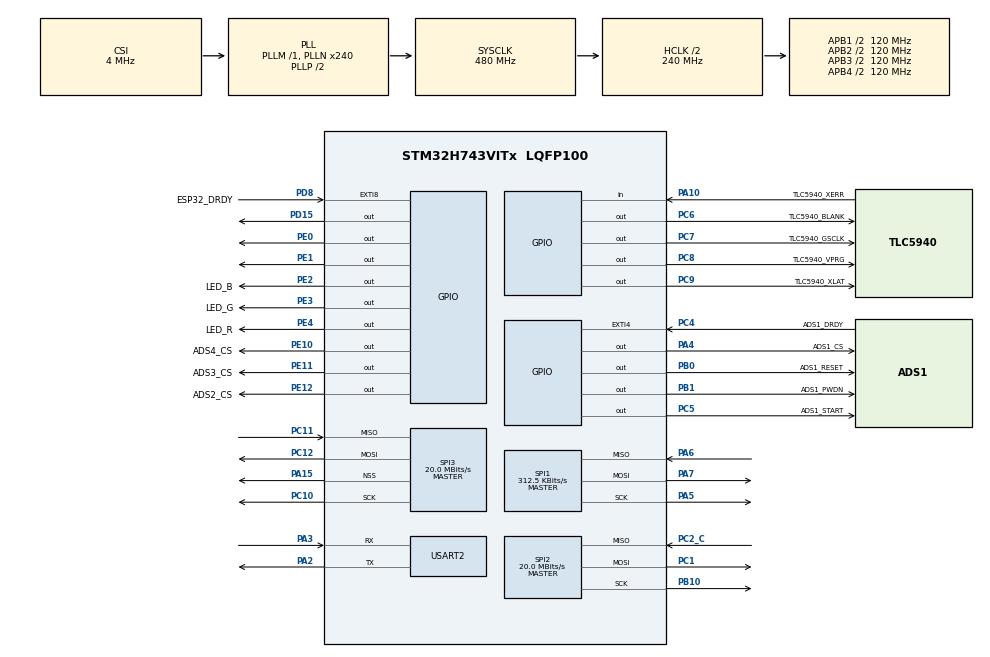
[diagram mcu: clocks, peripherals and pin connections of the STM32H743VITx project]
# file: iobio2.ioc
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Dma.Request0=SPI3_RX
Dma.Request1=SPI3_TX
Dma.Request2=SPI1_RX
Dma.Request3=SPI1_TX
Dma.SPI1_RX.2.Direction=DMA_PERIPH_TO_MEMORY
Dma.SPI1_RX.2.EventEnable=DISABLE
Dma.SPI1_RX.2.FIFOMode=DMA_FIFOMODE_ENABLE
Dma.SPI1_RX.2.FIFOThreshold=DMA_FIFO_THRESHOLD_FULL
Dma.SPI1_RX.2.Instance=DMA1_Stream2
Dma.SPI1_RX.2.MemBurst=DMA_MBURST_SINGLE
Dma.SPI1_RX.2.MemDataAlignment=DMA_MDATAALIGN_BYTE
Dma.SPI1_RX.2.MemInc=DMA_MINC_ENABLE
Dma.SPI1_RX.2.Mode=DMA_NORMAL
Dma.SPI1_RX.2.PeriphBurst=DMA_PBURST_SINGLE
Dma.SPI1_RX.2.PeriphDataAlignment=DMA_PDATAALIGN_BYTE
Dma.SPI1_RX.2.PeriphInc=DMA_PINC_DISABLE
Dma.SPI1_RX.2.Polarity=HAL_DMAMUX_REQ_GEN_RISING
Dma.SPI1_RX.2.Priority=DMA_PRIORITY_VERY_HIGH
Dma.SPI1_RX.2.RequestNumber=1
Dma.SPI1_RX.2.SignalID=NONE
Dma.SPI1_RX.2.SyncEnable=DISABLE
Dma.SPI1_RX.2.SyncPolarity=HAL_DMAMUX_SYNC_NO_EVENT
Dma.SPI1_RX.2.SyncRequestNumber=1
Dma.SPI1_RX.2.SyncSignalID=NONE
Dma.SPI1_TX.3.Direction=DMA_MEMORY_TO_PERIPH
Dma.SPI1_TX.3.EventEnable=DISABLE
Dma.SPI1_TX.3.FIFOMode=DMA_FIFOMODE_ENABLE
Dma.SPI1_TX.3.FIFOThreshold=DMA_FIFO_THRESHOLD_FULL
Dma.SPI1_TX.3.Instance=DMA1_Stream3
Dma.SPI1_TX.3.MemBurst=DMA_MBURST_SINGLE
Dma.SPI1_TX.3.MemDataAlignment=DMA_MDATAALIGN_BYTE
Dma.SPI1_TX.3.MemInc=DMA_MINC_ENABLE
Dma.SPI1_TX.3.Mode=DMA_NORMAL
Dma.SPI1_TX.3.PeriphBurst=DMA_PBURST_SINGLE
Dma.SPI1_TX.3.PeriphDataAlignment=DMA_PDATAALIGN_BYTE
Dma.SPI1_TX.3.PeriphInc=DMA_PINC_DISABLE
Dma.SPI1_TX.3.Polarity=HAL_DMAMUX_REQ_GEN_RISING
Dma.SPI1_TX.3.Priority=DMA_PRIORITY_VERY_HIGH
Dma.SPI1_TX.3.RequestNumber=1
Dma.SPI1_TX.3.SignalID=NONE
Dma.SPI1_TX.3.SyncEnable=DISABLE
Dma.SPI1_TX.3.SyncPolarity=HAL_DMAMUX_SYNC_NO_EVENT
Dma.SPI1_TX.3.SyncRequestNumber=1
Dma.SPI1_TX.3.SyncSignalID=NONE
Dma.SPI3_RX.0.Direction=DMA_PERIPH_TO_MEMORY
Dma.SPI3_RX.0.EventEnable=DISABLE
Dma.SPI3_RX.0.FIFOMode=DMA_FIFOMODE_ENABLE
Dma.SPI3_RX.0.FIFOThreshold=DMA_FIFO_THRESHOLD_FULL
Dma.SPI3_RX.0.Instance=DMA1_Stream0
Dma.SPI3_RX.0.MemBurst=DMA_MBURST_SINGLE
Dma.SPI3_RX.0.MemDataAlignment=DMA_MDATAALIGN_BYTE
Dma.SPI3_RX.0.MemInc=DMA_MINC_ENABLE
Dma.SPI3_RX.0.Mode=DMA_NORMAL
Dma.SPI3_RX.0.PeriphBurst=DMA_PBURST_SINGLE
Dma.SPI3_RX.0.PeriphDataAlignment=DMA_PDATAALIGN_BYTE
Dma.SPI3_RX.0.PeriphInc=DMA_PINC_DISABLE
Dma.SPI3_RX.0.Polarity=HAL_DMAMUX_REQ_GEN_RISING
Dma.SPI3_RX.0.Priority=DMA_PRIORITY_LOW
Dma.SPI3_RX.0.RequestNumber=1
Dma.SPI3_RX.0.SignalID=NONE
Dma.SPI3_RX.0.SyncEnable=DISABLE
Dma.SPI3_RX.0.SyncPolarity=HAL_DMAMUX_SYNC_NO_EVENT
Dma.SPI3_RX.0.SyncRequestNumber=1
Dma.SPI3_RX.0.SyncSignalID=NONE
Dma.SPI3_TX.1.Direction=DMA_MEMORY_TO_PERIPH
Dma.SPI3_TX.1.EventEnable=DISABLE
Dma.SPI3_TX.1.FIFOMode=DMA_FIFOMODE_ENABLE
Dma.SPI3_TX.1.FIFOThreshold=DMA_FIFO_THRESHOLD_FULL
Dma.SPI3_TX.1.Instance=DMA1_Stream1
Dma.SPI3_TX.1.MemBurst=DMA_MBURST_SINGLE
Dma.SPI3_TX.1.MemDataAlignment=DMA_MDATAALIGN_BYTE
Dma.SPI3_TX.1.MemInc=DMA_MINC_ENABLE
Dma.SPI3_TX.1.Mode=DMA_NORMAL
Dma.SPI3_TX.1.PeriphBurst=DMA_PBURST_SINGLE
Dma.SPI3_TX.1.PeriphDataAlignment=DMA_PDATAALIGN_BYTE
Dma.SPI3_TX.1.PeriphInc=DMA_PINC_DISABLE
Dma.SPI3_TX.1.Polarity=HAL_DMAMUX_REQ_GEN_RISING
Dma.SPI3_TX.1.Priority=DMA_PRIORITY_LOW
Dma.SPI3_TX.1.RequestNumber=1
Dma.SPI3_TX.1.SignalID=NONE
Dma.SPI3_TX.1.SyncEnable=DISABLE
Dma.SPI3_TX.1.SyncPolarity=HAL_DMAMUX_SYNC_NO_EVENT
Dma.SPI3_TX.1.SyncRequestNumber=1
Dma.SPI3_TX.1.SyncSignalID=NONE
Mcu.Family=STM32H7
Mcu.Name=STM32H743VITx
Mcu.Package=LQFP100
NVIC.DMA1_Stream0_IRQn=true\:0\:0\:false\:false\:true\:false\:true
NVIC.DMA1_Stream1_IRQn=true\:0\:0\:false\:false\:true\:false\:true
NVIC.DMA1_Stream2_IRQn=true\:0\:0\:false\:false\:true\:false\:true
NVIC.DMA1_Stream3_IRQn=true\:0\:0\:false\:false\:true\:false\:true
NVIC.EXTI4_IRQn=true\:0\:0\:true\:false\:true\:true\:true
NVIC.EXTI9_5_IRQn=true\:0\:0\:true\:false\:true\:true\:true
NVIC.PriorityGroup=NVIC_PRIORITYGROUP_4
NVIC.SPI1_IRQn=true\:0\:0\:true\:false\:true\:true\:true
NVIC.SPI3_IRQn=true\:0\:0\:false\:false\:true\:true\:true
NVIC.TIM16_IRQn=true\:0\:0\:false\:false\:true\:true\:true
PA10.GPIO_Label=TLC5940_XERR
PA10.Signal=GPIO_Input
PA13\ (JTMS/SWDIO).Mode=Serial_Wire
PA13\ (JTMS/SWDIO).Signal=DEBUG_JTMS-SWDIO
PA14\ (JTCK/SWCLK).Mode=Serial_Wire
PA14\ (JTCK/SWCLK).Signal=DEBUG_JTCK-SWCLK
PA15\ (JTDI).Mode=NSS_Signal_Hard_Output
PA15\ (JTDI).Signal=SPI3_NSS
PA2.Mode=Asynchronous
PA2.Signal=USART2_TX
PA3.Mode=Asynchronous
PA3.Signal=USART2_RX
PA4.GPIO_Label=ADS1_CS
PA4.PinState=GPIO_PIN_RESET
PA4.Signal=GPIO_Output
PA5.Mode=Full_Duplex_Master
PA5.Signal=SPI1_SCK
PA6.Mode=Full_Duplex_Master
PA6.Signal=SPI1_MISO
PA7.Mode=Full_Duplex_Master
PA7.Signal=SPI1_MOSI
PB0.GPIO_Label=ADS1_RESET
PB0.PinState=GPIO_PIN_RESET
PB0.Signal=GPIO_Output
PB1.GPIO_Label=ADS1_PWDN
PB1.PinState=GPIO_PIN_RESET
PB1.Signal=GPIO_Output
PB10.Mode=Full_Duplex_Master
PB10.Signal=SPI2_SCK
PC1.GPIO_PuPd=GPIO_PULLUP
PC1.Mode=Full_Duplex_Master
PC1.Signal=SPI2_MOSI
PC10.Mode=Full_Duplex_Master
PC10.Signal=SPI3_SCK
PC11.GPIO_PuPd=GPIO_NOPULL
PC11.Mode=Full_Duplex_Master
PC11.Signal=SPI3_MISO
PC12.Mode=Full_Duplex_Master
PC12.Signal=SPI3_MOSI
PC2_C.Mode=Full_Duplex_Master
PC2_C.Signal=SPI2_MISO
PC4.GPIO_Label=ADS1_DRDY
PC4.GPIO_ModeDefaultEXTI=GPIO_MODE_IT_FALLING
PC4.Signal=GPXTI4
PC5.GPIO_Label=ADS1_START
PC5.PinState=GPIO_PIN_RESET
PC5.Signal=GPIO_Output
PC6.GPIO_Label=TLC5940_BLANK
PC6.GPIO_Speed=GPIO_SPEED_FREQ_VERY_HIGH
PC6.PinState=GPIO_PIN_SET
PC6.Signal=GPIO_Output
PC7.GPIO_Label=TLC5940_GSCLK
PC7.GPIO_Speed=GPIO_SPEED_FREQ_VERY_HIGH
PC7.Signal=GPIO_Output
PC8.GPIO_Label=TLC5940_VPRG
PC8.GPIO_Speed=GPIO_SPEED_FREQ_VERY_HIGH
PC8.Signal=GPIO_Output
PC9.GPIO_Label=TLC5940_XLAT
PC9.GPIO_Speed=GPIO_SPEED_FREQ_VERY_HIGH
PC9.Signal=GPIO_Output
PD15.Signal=GPIO_Output
PD8.GPIO_Label=ESP32_DRDY
PD8.GPIO_ModeDefaultEXTI=GPIO_MODE_IT_RISING
PD8.GPIO_PuPd=GPIO_NOPULL
PD8.Signal=GPXTI8
PE0.GPIO_ModeDefaultOutputPP=GPIO_MODE_OUTPUT_PP
PE0.GPIO_PuPd=GPIO_NOPULL
PE0.GPIO_Speed=GPIO_SPEED_FREQ_LOW
PE0.PinState=GPIO_PIN_RESET
PE0.Signal=GPIO_Output
PE1.GPIO_ModeDefaultOutputPP=GPIO_MODE_OUTPUT_PP
PE1.GPIO_PuPd=GPIO_NOPULL
PE1.GPIO_Speed=GPIO_SPEED_FREQ_LOW
PE1.PinState=GPIO_PIN_RESET
PE1.Signal=GPIO_Output
PE10.GPIO_Label=ADS4_CS
PE10.PinState=GPIO_PIN_RESET
PE10.Signal=GPIO_Output
PE11.GPIO_Label=ADS3_CS
PE11.PinState=GPIO_PIN_RESET
PE11.Signal=GPIO_Output
PE12.GPIO_Label=ADS2_CS
PE12.PinState=GPIO_PIN_RESET
PE12.Signal=GPIO_Output
PE2.GPIO_Label=LED_B
PE2.GPIO_PuPd=GPIO_NOPULL
PE2.Signal=GPIO_Output
PE3.GPIO_Label=LED_G
PE3.Signal=GPIO_Output
PE4.GPIO_Label=LED_R
PE4.Signal=GPIO_Output
ProjectManager.HeapSize=0x200
ProjectManager.StackSize=0x400
ProjectManager.TargetToolchain=STM32CubeIDE
RCC.ADCFreq_Value=16000000
RCC.APB1Freq_Value=120000000
RCC.APB2Freq_Value=120000000
RCC.APB3Freq_Value=120000000
RCC.APB4Freq_Value=120000000
RCC.CortexFreq_Value=480000000
RCC.D1PPRE=RCC_APB3_DIV2
RCC.D2PPRE1=RCC_APB1_DIV2
RCC.D2PPRE2=RCC_APB2_DIV2
RCC.D3PPRE=RCC_APB4_DIV2
RCC.DIVM1=1
RCC.DIVM2=1
RCC.DIVN1=240
RCC.DIVN2=4
RCC.DIVP2=1
RCC.DIVQ1=12
RCC.DIVQ2=1
RCC.HCLKFreq_Value=240000000
RCC.HPRE=RCC_HCLK_DIV2
RCC.PLL2FRACN=0
RCC.PLL3FRACN=0
RCC.PLLFRACN=0
RCC.PLLSourceVirtual=RCC_PLLSOURCE_CSI
RCC.SYSCLKFreq_VALUE=480000000
RCC.SYSCLKSource=RCC_SYSCLKSOURCE_PLLCLK
RCC.USBCLockSelection=RCC_USBCLKSOURCE_HSI48
RCC.USBFreq_Value=48000000
SPI1.BaudRatePrescaler=SPI_BAUDRATEPRESCALER_256
SPI1.CLKPhase=SPI_PHASE_2EDGE
SPI1.CalculateBaudRate=312.5 KBits/s
SPI1.DataSize=SPI_DATASIZE_8BIT
SPI1.Direction=SPI_DIRECTION_2LINES
SPI1.Mode=SPI_MODE_MASTER
SPI1.VirtualType=VM_MASTER
SPI2.BaudRatePrescaler=SPI_BAUDRATEPRESCALER_4
SPI2.CLKPhase=SPI_PHASE_1EDGE
SPI2.CalculateBaudRate=20.0 MBits/s
SPI2.DataSize=SPI_DATASIZE_8BIT
SPI2.Direction=SPI_DIRECTION_2LINES
SPI2.FirstBit=SPI_FIRSTBIT_MSB
SPI2.Mode=SPI_MODE_MASTER
SPI2.VirtualType=VM_MASTER
SPI3.BaudRatePrescaler=SPI_BAUDRATEPRESCALER_4
SPI3.CalculateBaudRate=20.0 MBits/s
SPI3.DataSize=SPI_DATASIZE_8BIT
SPI3.Direction=SPI_DIRECTION_2LINES
SPI3.Mode=SPI_MODE_MASTER
SPI3.NSSPMode=SPI_NSS_PULSE_DISABLE
SPI3.VirtualNSS=VM_NSSHARD
SPI3.VirtualType=VM_MASTER
TIM1.Prescaler=80-1
TIM16.Period=16000-1
TIM16.Prescaler=200-1
USART2.VirtualMode-Asynchronous=VM_ASYNC
VP_TIM16_VS_ClockSourceINT.Mode=Enable_Timer
VP_TIM1_VS_ClockSourceINT.Mode=Internal
board=custom

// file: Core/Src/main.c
/* USER CODE BEGIN Header */
/**
  ******************************************************************************
  * @file           : main.c
  * @brief          : Main program body
  ******************************************************************************
  * @attention
  *
  * <h2><center>&copy; Copyright (c) 2021 STMicroelectronics.
  * All rights reserved.</center></h2>
  *
  * This software component is licensed by ST under Ultimate Liberty license
  * SLA0044, the "License"; You may not use this file except in compliance with
  * the License. You may obtain a copy of the License at:
  *                             www.st.com/SLA0044
  *
  ******************************************************************************
  */
/* USER CODE END Header */
#include "main.h"

/* USER CODE BEGIN Includes */
#include "ADS1299.h"
#include "TLC5940.h"
/* USER CODE END Includes */

SPI_HandleTypeDef hspi1;
SPI_HandleTypeDef hspi2;
SPI_HandleTypeDef hspi3;
DMA_HandleTypeDef hdma_spi1_rx;
DMA_HandleTypeDef hdma_spi1_tx;
DMA_HandleTypeDef hdma_spi3_rx;
DMA_HandleTypeDef hdma_spi3_tx;

TIM_HandleTypeDef htim1;
TIM_HandleTypeDef htim16;

UART_HandleTypeDef huart2;

/* USER CODE BEGIN PV */
uint32_t buf_size = 994;
uint8_t RX_Buffer[255] = {0};
uint8_t TX_Buffer[255] = {0};
uint8_t RXADS_Buffer[27] = {0}; //27
uint8_t TXADS_Buffer[27] = {0};
uint8_t TX_Buffer1[128]; //994 103
uint8_t TX_Buffer2[128];
uint8_t TX_TEST[994];
uint8_t waitingSetup = 1;
uint8_t streaming = 0;
uint32_t rolloverCount = 50;
uint8_t doInit=0;
uint8_t doTransfer = 0;
uint8_t ADS_DATA_RDY = 0;
uint8_t sampleCounter = 0;
uint32_t totalSamples = 0;
uint8_t sendData = 0;
uint8_t highlowbool = 0;
uint8_t TxTLC_Buffer_0[24]; //128
uint8_t TxTLC_Buffer_1[24];
uint8_t TxTLC_Buffer_BLANK[24];

uint8_t TxTLC_Buffer[12][24];

uint8_t ledCurrentState = 0;
uint8_t totalNumLEDs = 6;
uint8_t RxESP_Buffer[2048];
uint8_t TxESP_Buffer[2048];
uint8_t STM32_State = 0;
uint8_t ESP32_Command = 0;
uint8_t ADS_Buffer[27];
uint8_t gainarray[32] = {0};

uint32_t fnirsCounter = 0;
uint32_t fNIRS_LED_ID = 666;

// Historical retry state: increments of ten also mark completion.
uint8_t adsInitAttemptState = 0;

/* USER CODE END PV */

void SystemClock_Config(void);
static void MX_GPIO_Init(void);
static void MX_DMA_Init(void);
static void MX_USART2_UART_Init(void);
static void MX_TIM16_Init(void);
static void MX_SPI1_Init(void);
static void MX_TIM1_Init(void);
static void MX_SPI3_Init(void);
static void MX_SPI2_Init(void);
/* USER CODE BEGIN PFP */
static void MX_SPI1_Init_Fast(void);
/* USER CODE END PFP */

int main(void)
{
  /* USER CODE BEGIN 1 */
	RxESP_Buffer[0] = 1;
	RxESP_Buffer[37] = 1;
	STM32_State = 3;
  /* USER CODE END 1 */

  /* MCU Configuration--------------------------------------------------------*/

  /* Reset of all peripherals, Initializes the Flash interface and the Systick. */
  HAL_Init();

  /* Configure the system clock */
  SystemClock_Config();

  /* Initialize all configured peripherals */
  MX_GPIO_Init();
  MX_DMA_Init();
  MX_USART2_UART_Init();
  MX_TIM16_Init();
  MX_SPI1_Init();
  MX_TIM1_Init();
  MX_SPI3_Init();
  MX_SPI2_Init();
  /* USER CODE BEGIN 2 */

  HAL_TIM_Base_Start(&htim1);

  /* USER CODE END 2 */

  /* Infinite loop */
  /* USER CODE BEGIN WHILE */
  for (int var1 = 0; var1 < 12; ++var1) {
	  for (int var2 = 0; var2 < 24; ++var2) {
		  TxTLC_Buffer[var1][var2] = 0;
	  }
  }

  TxTLC_Buffer[0][23] = 0xFF;
  TxTLC_Buffer[0][22] = 0x0F;

  TxTLC_Buffer[1][22] = 0xF0;
  TxTLC_Buffer[1][21] = 0xFF;

  TxTLC_Buffer[2][20] = 0xFF;
  TxTLC_Buffer[2][19] = 0x0F;

  TxTLC_Buffer[3][19] = 0xF0;
  TxTLC_Buffer[3][18] = 0xFF;

  TxTLC_Buffer[4][17] = 0xFF;
  TxTLC_Buffer[4][16] = 0x0F;

  TxTLC_Buffer[5][16] = 0xF0;
  TxTLC_Buffer[5][15] = 0xFF;

  TxTLC_Buffer[4][17] = 0xFF;
  TxTLC_Buffer[4][16] = 0x0F;

  TxTLC_Buffer[5][16] = 0xF0;
  TxTLC_Buffer[5][15] = 0xFF;

  TxTLC_Buffer[6][14] = 0xFF;
  TxTLC_Buffer[6][13] = 0x0F;

  TxTLC_Buffer[7][13] = 0xF0;
  TxTLC_Buffer[7][12] = 0xFF;

  TxTLC_Buffer[6][14] = 0xFF;
  TxTLC_Buffer[6][13] = 0x0F;

  TxTLC_Buffer[7][13] = 0xF0;
  TxTLC_Buffer[7][12] = 0xFF;

  TxTLC_Buffer[8][11] = 0xFF;
  TxTLC_Buffer[8][10] = 0x0F;

  TxTLC_Buffer[9][10] = 0xF0;
  TxTLC_Buffer[9][9] =  0xFF;

  TxTLC_Buffer[10][8] = 0xFF;
  TxTLC_Buffer[10][7] = 0x0F;

  TxTLC_Buffer[11][7] = 0xF0;
  TxTLC_Buffer[11][6] =  0xFF;

for (int var = 0; var < 24; ++var) {
	TxTLC_Buffer_BLANK[var] = 0;
}

  //HAL_SPI_TransmitReceive (&hspi3, TxESP_Buffer, RxESP_Buffer, 128, HAL_MAX_DELAY);

	while (1)
	{
		switch(STM32_State)
		{
			case 0: //BOOT
				HAL_GPIO_WritePin(GPIOE, LED_B_Pin,1);
				HAL_Delay(200);
				HAL_GPIO_WritePin(GPIOE, LED_B_Pin,0);
				HAL_Delay(200);
				break;

			case 1: //Reading from ESP32
				//HAL_Delay(500);
				//\while(HAL_GPIO_ReadPin(GPIOD ,GPIO_PIN_8) == 1){
					HAL_SPI_TransmitReceive_DMA(&hspi3, TxESP_Buffer, RxESP_Buffer, 1);
					while(HAL_DMA_GetState(&hdma_spi3_tx) == 2){}
				//}
				//ESP32_Command = RxESP_Buffer[0];

				switch(RxESP_Buffer[0])
				{
					case 0xAA:
						HAL_SPI_DeInit(&hspi1);
						MX_SPI1_Init_Fast();
						HAL_NVIC_EnableIRQ(EXTI4_IRQn);
						for (int ADS_SEL = 1; ADS_SEL < 5; ++ADS_SEL) {
							StartRead(ADS_SEL);
						}
						STM32_State = 2;
						break;

					case 0x55:
						HAL_Delay(500); //Must be greater than 100ms to 'beat' delay in Python plotter
						HAL_SPI_TransmitReceive_DMA(&hspi3, TxESP_Buffer, RxESP_Buffer, 44);
						while(HAL_DMA_GetState(&hdma_spi3_tx) == 2){}
						STM32_State = 3;
						break;

					case 0x42:
						STM32_State = 5;
						break;
					//case 0x00:
					//	STM32_State = 0;
					//default:
					//	STM32_State = 0;
				}

				break;

			case 2: //IDLE
				break;

			case 3: // SET UP ADS1299
				//HAL_Delay(500);
				HAL_SPI_DeInit(&hspi1);
				MX_SPI1_Init();

				for (uint8_t i = 0; i<32;i++){
					gainarray[i] = RxESP_Buffer[i+5];
				}

				  HAL_GPIO_WritePin(GPIOE, LED_G_Pin,1);
				  HAL_Delay(100);
				  HAL_GPIO_WritePin(GPIOE, LED_G_Pin,0);

				  adsInitAttemptState = 0;
				  while(adsInitAttemptState < 3){
				for (int ADS_SEL = 1; ADS_SEL < 5; ++ADS_SEL) {

					int CHECKME = InitADS(ADS_SEL, RxESP_Buffer[0], RxESP_Buffer[37], gainarray);
					//int CHECKME = InitADS(ADS_SEL,1,1,gainarray);
					if(CHECKME != 0){
						  while (adsInitAttemptState == 2)
						  {
								HAL_GPIO_WritePin(GPIOE, LED_R_Pin,1);
								HAL_Delay(200);
								HAL_GPIO_WritePin(GPIOE, LED_R_Pin,0);
								HAL_Delay(200);
								STM32_State = 0;
								adsInitAttemptState += 10;
						  }
						  adsInitAttemptState ++;
					}
					else{adsInitAttemptState += 10;}
					HAL_GPIO_WritePin(GPIOE, LED_R_Pin,0);

				}
				  }
				  STM32_State = 0;
				break;

			case 4: // ADS1299 data ready: service the five-phase optical slot.
				// Phase 2 tags one record; 666 (0x029A) marks unselected records.
				switch(fnirsCounter)
				{
					case 0:
						updateLED(TxTLC_Buffer[ledCurrentState]);
						break;

					case 1:
						break;

					case 2:
						fNIRS_LED_ID = ledCurrentState;
						ledCurrentState++;
						if(ledCurrentState == 12) {ledCurrentState = 0;} //if(ledCurrentState == 12) {ledCurrentState = 0;}
						break;

					case 3:
						fNIRS_LED_ID = 666;
						updateLED(TxTLC_Buffer_BLANK);
						break;

					case 4:
						break;

					default:
						updateLED(TxTLC_Buffer_BLANK);
				}

				// Descending 27-byte reads overlap status words: the final record
				// holds a three-byte state followed by 32 three-byte channel words.
				HAL_GPIO_WritePin(ADS1_CS_PORT, ADS1_CS_PIN, GPIO_PIN_RESET);
				HAL_SPI_TransmitReceive_DMA(&hspi1, TXADS_Buffer, &TxESP_Buffer[72+(sampleCounter*99)], 27); //RXADS_Buffer
				while(HAL_DMA_GetState(&hdma_spi1_tx) == 2){}
				HAL_GPIO_WritePin(ADS1_CS_PORT, ADS1_CS_PIN, GPIO_PIN_SET);

				HAL_GPIO_WritePin(GPIOE, ADS2_CS_Pin, GPIO_PIN_RESET);
				HAL_SPI_TransmitReceive_DMA(&hspi1, TXADS_Buffer, &TxESP_Buffer[48+(sampleCounter*99)], 27); //RXADS_Buffer
				while(HAL_DMA_GetState(&hdma_spi1_tx) == 2){}
				HAL_GPIO_WritePin(GPIOE, ADS2_CS_Pin, GPIO_PIN_SET);

				HAL_GPIO_WritePin(GPIOE, ADS4_CS_Pin, GPIO_PIN_RESET);
				HAL_SPI_TransmitReceive_DMA(&hspi1, TXADS_Buffer, &TxESP_Buffer[24+(sampleCounter*99)], 27); //RXADS_Buffer
				while(HAL_DMA_GetState(&hdma_spi1_tx) == 2){}
				HAL_GPIO_WritePin(GPIOE, ADS4_CS_Pin, GPIO_PIN_SET);

				HAL_GPIO_WritePin(GPIOE, ADS3_CS_Pin, GPIO_PIN_RESET);
				HAL_SPI_TransmitReceive_DMA(&hspi1, TXADS_Buffer, &TxESP_Buffer[sampleCounter*99], 27); //RXADS_Buffer
				while(HAL_DMA_GetState(&hdma_spi1_tx) == 2){}
				HAL_GPIO_WritePin(GPIOE, ADS3_CS_Pin, GPIO_PIN_SET);

				TxESP_Buffer[sampleCounter*99]=(fNIRS_LED_ID >> 16) & 0xFF;
				TxESP_Buffer[1+sampleCounter*99]=(fNIRS_LED_ID >> 8) & 0xFF;
				TxESP_Buffer[2+sampleCounter*99]=(fNIRS_LED_ID) & 0xFF;

				if(sampleCounter == 19){
					totalSamples++;
					TxESP_Buffer[1980]=(totalSamples >> 24) & 0xFF;
					TxESP_Buffer[1981]=(totalSamples >> 16) & 0xFF;
					TxESP_Buffer[1982]=(totalSamples >> 8) & 0xFF;
					TxESP_Buffer[1983]=(totalSamples) & 0xFF;

					HAL_SPI_TransmitReceive_DMA(&hspi3, TxESP_Buffer, RxESP_Buffer, 2048);
					while(HAL_DMA_GetState(&hdma_spi3_tx) == 2){}

					sampleCounter = 0;
				}
				else{
					sampleCounter++;
				}

				fnirsCounter++;

				if(fnirsCounter == 5){ //19
					fnirsCounter = 0;
				}

				STM32_State = 2;

				break;

			case 5: //STOP ADS READ
				// RESET COUNTER FOR BUFFER AND LEDS etc
				// Stop continuous conversion reads on all four converters.
				fnirsCounter = 0;
				totalSamples = 0;
				for (int var = 0; var < 2; ++var) {
					for (int ADS_SEL = 1; ADS_SEL < 5; ++ADS_SEL) {
						StopRead(ADS_SEL);
					}
				}

				STM32_State = 0;
				break;
			}

	}

    /* USER CODE END WHILE */

}

void SystemClock_Config(void)
{
  RCC_OscInitTypeDef RCC_OscInitStruct = {0};
  RCC_ClkInitTypeDef RCC_ClkInitStruct = {0};

  /** Supply configuration update enable
  */
  HAL_PWREx_ConfigSupply(PWR_LDO_SUPPLY);
  /** Configure the main internal regulator output voltage
  */
  __HAL_PWR_VOLTAGESCALING_CONFIG(PWR_REGULATOR_VOLTAGE_SCALE0);

  while(!__HAL_PWR_GET_FLAG(PWR_FLAG_VOSRDY)) {}
  /** Initializes the RCC Oscillators according to the specified parameters
  * in the RCC_OscInitTypeDef structure.
  */
  RCC_OscInitStruct.OscillatorType = RCC_OSCILLATORTYPE_CSI;
  RCC_OscInitStruct.CSIState = RCC_CSI_ON;
  RCC_OscInitStruct.CSICalibrationValue = RCC_CSICALIBRATION_DEFAULT;
  RCC_OscInitStruct.PLL.PLLState = RCC_PLL_ON;
  RCC_OscInitStruct.PLL.PLLSource = RCC_PLLSOURCE_CSI;
  RCC_OscInitStruct.PLL.PLLM = 1;
  RCC_OscInitStruct.PLL.PLLN = 240;
  RCC_OscInitStruct.PLL.PLLP = 2;
  RCC_OscInitStruct.PLL.PLLQ = 12;
  RCC_OscInitStruct.PLL.PLLR = 2;
  RCC_OscInitStruct.PLL.PLLRGE = RCC_PLL1VCIRANGE_2;
  RCC_OscInitStruct.PLL.PLLVCOSEL = RCC_PLL1VCOWIDE;
  RCC_OscInitStruct.PLL.PLLFRACN = 0;
  if (HAL_RCC_OscConfig(&RCC_OscInitStruct) != HAL_OK)
  {
    Error_Handler();
  }
  /** Initializes the CPU, AHB and APB buses clocks
  */
  RCC_ClkInitStruct.ClockType = RCC_CLOCKTYPE_HCLK|RCC_CLOCKTYPE_SYSCLK
                              |RCC_CLOCKTYPE_PCLK1|RCC_CLOCKTYPE_PCLK2
                              |RCC_CLOCKTYPE_D3PCLK1|RCC_CLOCKTYPE_D1PCLK1;
  RCC_ClkInitStruct.SYSCLKSource = RCC_SYSCLKSOURCE_PLLCLK;
  RCC_ClkInitStruct.SYSCLKDivider = RCC_SYSCLK_DIV1;
  RCC_ClkInitStruct.AHBCLKDivider = RCC_HCLK_DIV2;
  RCC_ClkInitStruct.APB3CLKDivider = RCC_APB3_DIV2;
  RCC_ClkInitStruct.APB1CLKDivider = RCC_APB1_DIV2;
  RCC_ClkInitStruct.APB2CLKDivider = RCC_APB2_DIV2;
  RCC_ClkInitStruct.APB4CLKDivider = RCC_APB4_DIV2;

  if (HAL_RCC_ClockConfig(&RCC_ClkInitStruct, FLASH_LATENCY_4) != HAL_OK)
  {
    Error_Handler();
  }
}

static void MX_SPI1_Init(void)
{

  /* SPI1 parameter configuration*/
  hspi1.Instance = SPI1;
  hspi1.Init.Mode = SPI_MODE_MASTER;
  hspi1.Init.Direction = SPI_DIRECTION_2LINES;
  hspi1.Init.DataSize = SPI_DATASIZE_8BIT;
  hspi1.Init.CLKPolarity = SPI_POLARITY_LOW;
  hspi1.Init.CLKPhase = SPI_PHASE_2EDGE;
  hspi1.Init.NSS = SPI_NSS_SOFT;
  hspi1.Init.BaudRatePrescaler = SPI_BAUDRATEPRESCALER_256;
  hspi1.Init.FirstBit = SPI_FIRSTBIT_MSB;
  hspi1.Init.TIMode = SPI_TIMODE_DISABLE;
  hspi1.Init.CRCCalculation = SPI_CRCCALCULATION_DISABLE;
  hspi1.Init.CRCPolynomial = 0x0;
  hspi1.Init.NSSPMode = SPI_NSS_PULSE_ENABLE;
  hspi1.Init.NSSPolarity = SPI_NSS_POLARITY_LOW;
  hspi1.Init.FifoThreshold = SPI_FIFO_THRESHOLD_01DATA;
  hspi1.Init.TxCRCInitializationPattern = SPI_CRC_INITIALIZATION_ALL_ZERO_PATTERN;
  hspi1.Init.RxCRCInitializationPattern = SPI_CRC_INITIALIZATION_ALL_ZERO_PATTERN;
  hspi1.Init.MasterSSIdleness = SPI_MASTER_SS_IDLENESS_00CYCLE;
  hspi1.Init.MasterInterDataIdleness = SPI_MASTER_INTERDATA_IDLENESS_00CYCLE;
  hspi1.Init.MasterReceiverAutoSusp = SPI_MASTER_RX_AUTOSUSP_DISABLE;
  hspi1.Init.MasterKeepIOState = SPI_MASTER_KEEP_IO_STATE_DISABLE;
  hspi1.Init.IOSwap = SPI_IO_SWAP_DISABLE;
  if (HAL_SPI_Init(&hspi1) != HAL_OK)
  {
    Error_Handler();
  }

}

static void MX_SPI2_Init(void)
{

  /* SPI2 parameter configuration*/
  hspi2.Instance = SPI2;
  hspi2.Init.Mode = SPI_MODE_MASTER;
  hspi2.Init.Direction = SPI_DIRECTION_2LINES;
  hspi2.Init.DataSize = SPI_DATASIZE_8BIT;
  hspi2.Init.CLKPolarity = SPI_POLARITY_LOW;
  hspi2.Init.CLKPhase = SPI_PHASE_1EDGE;
  hspi2.Init.NSS = SPI_NSS_SOFT;
  hspi2.Init.BaudRatePrescaler = SPI_BAUDRATEPRESCALER_4;
  hspi2.Init.FirstBit = SPI_FIRSTBIT_MSB;
  hspi2.Init.TIMode = SPI_TIMODE_DISABLE;
  hspi2.Init.CRCCalculation = SPI_CRCCALCULATION_DISABLE;
  hspi2.Init.CRCPolynomial = 0x0;
  hspi2.Init.NSSPMode = SPI_NSS_PULSE_ENABLE;
  hspi2.Init.NSSPolarity = SPI_NSS_POLARITY_LOW;
  hspi2.Init.FifoThreshold = SPI_FIFO_THRESHOLD_01DATA;
  hspi2.Init.TxCRCInitializationPattern = SPI_CRC_INITIALIZATION_ALL_ZERO_PATTERN;
  hspi2.Init.RxCRCInitializationPattern = SPI_CRC_INITIALIZATION_ALL_ZERO_PATTERN;
  hspi2.Init.MasterSSIdleness = SPI_MASTER_SS_IDLENESS_00CYCLE;
  hspi2.Init.MasterInterDataIdleness = SPI_MASTER_INTERDATA_IDLENESS_00CYCLE;
  hspi2.Init.MasterReceiverAutoSusp = SPI_MASTER_RX_AUTOSUSP_DISABLE;
  hspi2.Init.MasterKeepIOState = SPI_MASTER_KEEP_IO_STATE_DISABLE;
  hspi2.Init.IOSwap = SPI_IO_SWAP_DISABLE;
  if (HAL_SPI_Init(&hspi2) != HAL_OK)
  {
    Error_Handler();
  }

}

static void MX_SPI3_Init(void)
{

  /* SPI3 parameter configuration*/
  hspi3.Instance = SPI3;
  hspi3.Init.Mode = SPI_MODE_MASTER;
  hspi3.Init.Direction = SPI_DIRECTION_2LINES;
  hspi3.Init.DataSize = SPI_DATASIZE_8BIT;
  hspi3.Init.CLKPolarity = SPI_POLARITY_LOW;
  hspi3.Init.CLKPhase = SPI_PHASE_1EDGE;
  hspi3.Init.NSS = SPI_NSS_HARD_OUTPUT;
  hspi3.Init.BaudRatePrescaler = SPI_BAUDRATEPRESCALER_4;
  hspi3.Init.FirstBit = SPI_FIRSTBIT_MSB;
  hspi3.Init.TIMode = SPI_TIMODE_DISABLE;
  hspi3.Init.CRCCalculation = SPI_CRCCALCULATION_DISABLE;
  hspi3.Init.CRCPolynomial = 0x0;
  hspi3.Init.NSSPMode = SPI_NSS_PULSE_DISABLE;
  hspi3.Init.NSSPolarity = SPI_NSS_POLARITY_LOW;
  hspi3.Init.FifoThreshold = SPI_FIFO_THRESHOLD_01DATA;
  hspi3.Init.TxCRCInitializationPattern = SPI_CRC_INITIALIZATION_ALL_ZERO_PATTERN;
  hspi3.Init.RxCRCInitializationPattern = SPI_CRC_INITIALIZATION_ALL_ZERO_PATTERN;
  hspi3.Init.MasterSSIdleness = SPI_MASTER_SS_IDLENESS_00CYCLE;
  hspi3.Init.MasterInterDataIdleness = SPI_MASTER_INTERDATA_IDLENESS_00CYCLE;
  hspi3.Init.MasterReceiverAutoSusp = SPI_MASTER_RX_AUTOSUSP_DISABLE;
  hspi3.Init.MasterKeepIOState = SPI_MASTER_KEEP_IO_STATE_DISABLE;
  hspi3.Init.IOSwap = SPI_IO_SWAP_DISABLE;
  if (HAL_SPI_Init(&hspi3) != HAL_OK)
  {
    Error_Handler();
  }

}

static void MX_TIM1_Init(void)
{

  TIM_ClockConfigTypeDef sClockSourceConfig = {0};
  TIM_MasterConfigTypeDef sMasterConfig = {0};

  htim1.Instance = TIM1;
  htim1.Init.Prescaler = 80-1;
  htim1.Init.CounterMode = TIM_COUNTERMODE_UP;
  htim1.Init.Period = 65535;
  htim1.Init.ClockDivision = TIM_CLOCKDIVISION_DIV1;
  htim1.Init.RepetitionCounter = 0;
  htim1.Init.AutoReloadPreload = TIM_AUTORELOAD_PRELOAD_DISABLE;
  if (HAL_TIM_Base_Init(&htim1) != HAL_OK)
  {
    Error_Handler();
  }
  sClockSourceConfig.ClockSource = TIM_CLOCKSOURCE_INTERNAL;
  if (HAL_TIM_ConfigClockSource(&htim1, &sClockSourceConfig) != HAL_OK)
  {
    Error_Handler();
  }
  sMasterConfig.MasterOutputTrigger = TIM_TRGO_RESET;
  sMasterConfig.MasterOutputTrigger2 = TIM_TRGO2_RESET;
  sMasterConfig.MasterSlaveMode = TIM_MASTERSLAVEMODE_DISABLE;
  if (HAL_TIMEx_MasterConfigSynchronization(&htim1, &sMasterConfig) != HAL_OK)
  {
    Error_Handler();
  }

}

static void MX_TIM16_Init(void)
{

  htim16.Instance = TIM16;
  htim16.Init.Prescaler = 200-1;
  htim16.Init.CounterMode = TIM_COUNTERMODE_UP;
  htim16.Init.Period = 16000-1;
  htim16.Init.ClockDivision = TIM_CLOCKDIVISION_DIV1;
  htim16.Init.RepetitionCounter = 0;
  htim16.Init.AutoReloadPreload = TIM_AUTORELOAD_PRELOAD_DISABLE;
  if (HAL_TIM_Base_Init(&htim16) != HAL_OK)
  {
    Error_Handler();
  }

}

static void MX_USART2_UART_Init(void)
{

  huart2.Instance = USART2;
  huart2.Init.BaudRate = 115200;
  huart2.Init.WordLength = UART_WORDLENGTH_8B;
  huart2.Init.StopBits = UART_STOPBITS_1;
  huart2.Init.Parity = UART_PARITY_NONE;
  huart2.Init.Mode = UART_MODE_TX_RX;
  huart2.Init.HwFlowCtl = UART_HWCONTROL_NONE;
  huart2.Init.OverSampling = UART_OVERSAMPLING_16;
  huart2.Init.OneBitSampling = UART_ONE_BIT_SAMPLE_DISABLE;
  huart2.Init.ClockPrescaler = UART_PRESCALER_DIV1;
  huart2.AdvancedInit.AdvFeatureInit = UART_ADVFEATURE_NO_INIT;
  if (HAL_UART_Init(&huart2) != HAL_OK)
  {
    Error_Handler();
  }
  if (HAL_UARTEx_SetTxFifoThreshold(&huart2, UART_TXFIFO_THRESHOLD_1_8) != HAL_OK)
  {
    Error_Handler();
  }
  if (HAL_UARTEx_SetRxFifoThreshold(&huart2, UART_RXFIFO_THRESHOLD_1_8) != HAL_OK)
  {
    Error_Handler();
  }
  if (HAL_UARTEx_DisableFifoMode(&huart2) != HAL_OK)
  {
    Error_Handler();
  }

}

static void MX_DMA_Init(void)
{

  /* DMA controller clock enable */
  __HAL_RCC_DMA1_CLK_ENABLE();

  /* DMA interrupt init */
  /* DMA1_Stream0_IRQn interrupt configuration */
  HAL_NVIC_SetPriority(DMA1_Stream0_IRQn, 0, 0);
  HAL_NVIC_EnableIRQ(DMA1_Stream0_IRQn);
  /* DMA1_Stream1_IRQn interrupt configuration */
  HAL_NVIC_SetPriority(DMA1_Stream1_IRQn, 0, 0);
  HAL_NVIC_EnableIRQ(DMA1_Stream1_IRQn);
  /* DMA1_Stream2_IRQn interrupt configuration */
  HAL_NVIC_SetPriority(DMA1_Stream2_IRQn, 0, 0);
  HAL_NVIC_EnableIRQ(DMA1_Stream2_IRQn);
  /* DMA1_Stream3_IRQn interrupt configuration */
  HAL_NVIC_SetPriority(DMA1_Stream3_IRQn, 0, 0);
  HAL_NVIC_EnableIRQ(DMA1_Stream3_IRQn);

}

static void MX_GPIO_Init(void)
{
  GPIO_InitTypeDef GPIO_InitStruct = {0};

  /* GPIO Ports Clock Enable */
  __HAL_RCC_GPIOE_CLK_ENABLE();
  __HAL_RCC_GPIOC_CLK_ENABLE();
  __HAL_RCC_GPIOA_CLK_ENABLE();
  __HAL_RCC_GPIOB_CLK_ENABLE();
  __HAL_RCC_GPIOD_CLK_ENABLE();

  /*Configure GPIO pin Output Level */
  HAL_GPIO_WritePin(GPIOE, LED_B_Pin|LED_G_Pin|LED_R_Pin|ADS4_CS_Pin
                          |ADS3_CS_Pin|ADS2_CS_Pin|GPIO_PIN_0|GPIO_PIN_1, GPIO_PIN_RESET);

  /*Configure GPIO pin Output Level */
  HAL_GPIO_WritePin(ADS1_CS_GPIO_Port, ADS1_CS_Pin, GPIO_PIN_RESET);

  /*Configure GPIO pin Output Level */
  HAL_GPIO_WritePin(GPIOC, ADS1_START_Pin|TLC5940_GSCLK_Pin|TLC5940_VPRG_Pin|TLC5940_XLAT_Pin, GPIO_PIN_RESET);

  /*Configure GPIO pin Output Level */
  HAL_GPIO_WritePin(GPIOB, ADS1_RESET_Pin|ADS1_PWDN_Pin, GPIO_PIN_RESET);

  /*Configure GPIO pin Output Level */
  HAL_GPIO_WritePin(GPIOD, GPIO_PIN_15, GPIO_PIN_RESET);

  /*Configure GPIO pin Output Level */
  HAL_GPIO_WritePin(TLC5940_BLANK_GPIO_Port, TLC5940_BLANK_Pin, GPIO_PIN_SET);

  /*Configure GPIO pins : LED_B_Pin LED_G_Pin LED_R_Pin ADS4_CS_Pin
                           ADS3_CS_Pin ADS2_CS_Pin PE0 PE1 */
  GPIO_InitStruct.Pin = LED_B_Pin|LED_G_Pin|LED_R_Pin|ADS4_CS_Pin
                          |ADS3_CS_Pin|ADS2_CS_Pin|GPIO_PIN_0|GPIO_PIN_1;
  GPIO_InitStruct.Mode = GPIO_MODE_OUTPUT_PP;
  GPIO_InitStruct.Pull = GPIO_NOPULL;
  GPIO_InitStruct.Speed = GPIO_SPEED_FREQ_LOW;
  HAL_GPIO_Init(GPIOE, &GPIO_InitStruct);

  /*Configure GPIO pin : ADS1_CS_Pin */
  GPIO_InitStruct.Pin = ADS1_CS_Pin;
  GPIO_InitStruct.Mode = GPIO_MODE_OUTPUT_PP;
  GPIO_InitStruct.Pull = GPIO_NOPULL;
  GPIO_InitStruct.Speed = GPIO_SPEED_FREQ_LOW;
  HAL_GPIO_Init(ADS1_CS_GPIO_Port, &GPIO_InitStruct);

  /*Configure GPIO pin : ADS1_DRDY_Pin */
  GPIO_InitStruct.Pin = ADS1_DRDY_Pin;
  GPIO_InitStruct.Mode = GPIO_MODE_IT_FALLING;
  GPIO_InitStruct.Pull = GPIO_NOPULL;
  HAL_GPIO_Init(ADS1_DRDY_GPIO_Port, &GPIO_InitStruct);

  /*Configure GPIO pin : ADS1_START_Pin */
  GPIO_InitStruct.Pin = ADS1_START_Pin;
  GPIO_InitStruct.Mode = GPIO_MODE_OUTPUT_PP;
  GPIO_InitStruct.Pull = GPIO_NOPULL;
  GPIO_InitStruct.Speed = GPIO_SPEED_FREQ_LOW;
  HAL_GPIO_Init(ADS1_START_GPIO_Port, &GPIO_InitStruct);

  /*Configure GPIO pins : ADS1_RESET_Pin ADS1_PWDN_Pin */
  GPIO_InitStruct.Pin = ADS1_RESET_Pin|ADS1_PWDN_Pin;
  GPIO_InitStruct.Mode = GPIO_MODE_OUTPUT_PP;
  GPIO_InitStruct.Pull = GPIO_NOPULL;
  GPIO_InitStruct.Speed = GPIO_SPEED_FREQ_LOW;
  HAL_GPIO_Init(GPIOB, &GPIO_InitStruct);

  /*Configure GPIO pin : ESP32_DRDY_Pin */
  GPIO_InitStruct.Pin = ESP32_DRDY_Pin;
  GPIO_InitStruct.Mode = GPIO_MODE_IT_RISING;
  GPIO_InitStruct.Pull = GPIO_NOPULL;
  HAL_GPIO_Init(ESP32_DRDY_GPIO_Port, &GPIO_InitStruct);

  /*Configure GPIO pin : PD15 */
  GPIO_InitStruct.Pin = GPIO_PIN_15;
  GPIO_InitStruct.Mode = GPIO_MODE_OUTPUT_PP;
  GPIO_InitStruct.Pull = GPIO_NOPULL;
  GPIO_InitStruct.Speed = GPIO_SPEED_FREQ_LOW;
  HAL_GPIO_Init(GPIOD, &GPIO_InitStruct);

  /*Configure GPIO pins : TLC5940_BLANK_Pin TLC5940_GSCLK_Pin TLC5940_VPRG_Pin TLC5940_XLAT_Pin */
  GPIO_InitStruct.Pin = TLC5940_BLANK_Pin|TLC5940_GSCLK_Pin|TLC5940_VPRG_Pin|TLC5940_XLAT_Pin;
  GPIO_InitStruct.Mode = GPIO_MODE_OUTPUT_PP;
  GPIO_InitStruct.Pull = GPIO_NOPULL;
  GPIO_InitStruct.Speed = GPIO_SPEED_FREQ_VERY_HIGH;
  HAL_GPIO_Init(GPIOC, &GPIO_InitStruct);

  /*Configure GPIO pin : TLC5940_XERR_Pin */
  GPIO_InitStruct.Pin = TLC5940_XERR_Pin;
  GPIO_InitStruct.Mode = GPIO_MODE_INPUT;
  GPIO_InitStruct.Pull = GPIO_NOPULL;
  HAL_GPIO_Init(TLC5940_XERR_GPIO_Port, &GPIO_InitStruct);

  /* EXTI interrupt init*/
  HAL_NVIC_SetPriority(EXTI4_IRQn, 0, 0);
  HAL_NVIC_EnableIRQ(EXTI4_IRQn);

  HAL_NVIC_SetPriority(EXTI9_5_IRQn, 0, 0);
  HAL_NVIC_EnableIRQ(EXTI9_5_IRQn);

}

/* USER CODE BEGIN 4 */
int _write(int file, char *ptr, int len) {
    CDC_Transmit_FS(*ptr, len);
    return len;
}

// FAST SPI1 BEGIN -- SPI_BAUDRATEPRESCALER_4
static void MX_SPI1_Init_Fast(void)
{

  /* USER CODE BEGIN SPI1_Init 0 */

  /* USER CODE END SPI1_Init 0 */

  /* USER CODE BEGIN SPI1_Init 1 */

  /* USER CODE END SPI1_Init 1 */
  /* SPI1 parameter configuration*/
  hspi1.Instance = SPI1;
  hspi1.Init.Mode = SPI_MODE_MASTER;
  hspi1.Init.Direction = SPI_DIRECTION_2LINES;
  hspi1.Init.DataSize = SPI_DATASIZE_8BIT;
  hspi1.Init.CLKPolarity = SPI_POLARITY_LOW;
  hspi1.Init.CLKPhase = SPI_PHASE_2EDGE;
  hspi1.Init.NSS = SPI_NSS_SOFT;
  hspi1.Init.BaudRatePrescaler = SPI_BAUDRATEPRESCALER_4; //8
  hspi1.Init.FirstBit = SPI_FIRSTBIT_MSB;
  hspi1.Init.TIMode = SPI_TIMODE_DISABLE;
  hspi1.Init.CRCCalculation = SPI_CRCCALCULATION_DISABLE;
  hspi1.Init.CRCPolynomial = 0x0;
  hspi1.Init.NSSPMode = SPI_NSS_PULSE_ENABLE;
  hspi1.Init.NSSPolarity = SPI_NSS_POLARITY_LOW;
  hspi1.Init.FifoThreshold = SPI_FIFO_THRESHOLD_01DATA;
  hspi1.Init.TxCRCInitializationPattern = SPI_CRC_INITIALIZATION_ALL_ZERO_PATTERN;
  hspi1.Init.RxCRCInitializationPattern = SPI_CRC_INITIALIZATION_ALL_ZERO_PATTERN;
  hspi1.Init.MasterSSIdleness = SPI_MASTER_SS_IDLENESS_00CYCLE;
  hspi1.Init.MasterInterDataIdleness = SPI_MASTER_INTERDATA_IDLENESS_00CYCLE;
  hspi1.Init.MasterReceiverAutoSusp = SPI_MASTER_RX_AUTOSUSP_DISABLE;
  hspi1.Init.MasterKeepIOState = SPI_MASTER_KEEP_IO_STATE_DISABLE;
  hspi1.Init.IOSwap = SPI_IO_SWAP_DISABLE;
  if (HAL_SPI_Init(&hspi1) != HAL_OK)
  {
    Error_Handler();
  }
}
// FAST SPI1 END

// Callback: timer has rolled over
void HAL_TIM_PeriodElapsedCallback(TIM_HandleTypeDef *htim)
{

	//StreamData = lowarray;
  // Check which version of the timer triggered this callback and toggle LED
  //if (htim == &htim16 )
  //{
  //  HAL_GPIO_TogglePin(GPIOA, GPIO_PIN_5);
  //}
}
//void HAL_SPI_RxCpltCallback(SPI_HandleTypeDef * hspi)
//{
	//HAL_Delay(10);
	//HAL_SPI_Transmit_DMA(&hspi3, lowarray, 99);
	//InitADS();
	//HAL_SPI_Receive_IT(&hspi3, RX_Buffer, 1);
    //HAL_UART_Transmit_IT(&huart1, RX_Buffer, BUFFER_SIZE);
//}
void HAL_SPI_TxCpltCallback(SPI_HandleTypeDef * hspi)
{
	//HAL_Delay(10);
	//HAL_SPI_Transmit_DMA(&hspi3, lowarray, 99);

    //HAL_UART_Transmit_IT(&huart1, RX_Buffer, BUFFER_SIZE);
}
/* USER CODE END 4 */

void Error_Handler(void)
{
}

/************************ (C) COPYRIGHT STMicroelectronics *****END OF FILE****/
